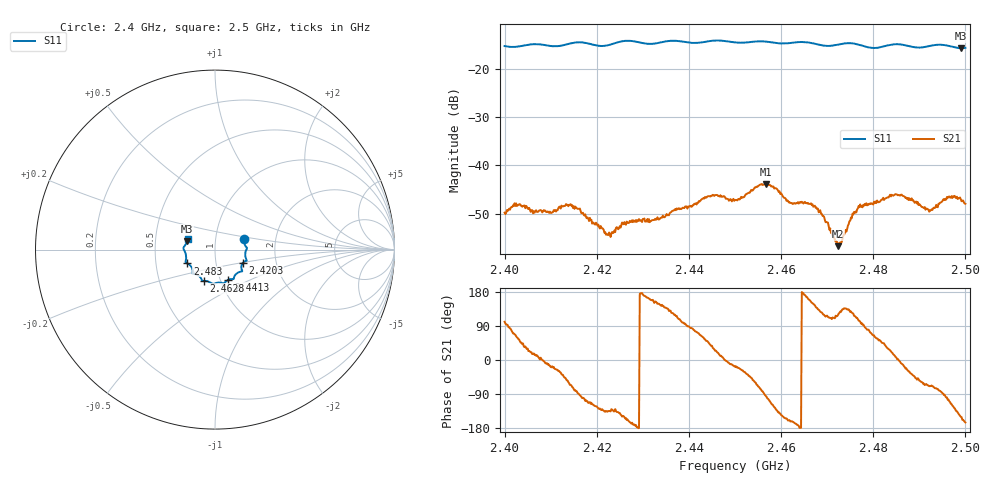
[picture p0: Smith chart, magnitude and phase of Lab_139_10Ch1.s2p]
# Hz S RI R 50
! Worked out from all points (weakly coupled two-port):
!   601 points, 2.4 GHz to 2.5 GHz, reference 50 ohm
!   highest |S21| = -43.83 dB at 2.4567 GHz (marker M1); lowest = -56.7 dB at 2.4723 GHz (marker M2)
!   lowest |S11| = -15.8 dB at 2.499 GHz (marker M3), VSWR 1.39, Z = 36.4 + j3.39 ohm
!   |S11| at or under -10 dB: start of sweep to end of sweep
!   S12 and S22 are empty: the file has one direction only
!   S11 on the Smith chart (normalised r, x): 2.4 GHz: 1.37, +0.16; 2.4203 GHz: 1.35, -0.21; 2.4413 GHz: 1.09, -0.38; 2.4628 GHz: 0.83, -0.30; 2.483 GHz: 0.72, -0.11; 2.5 GHz: 0.73, +0.09
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2.4e9  0.1609 0.0565  -0.000616 0.00318  0 0  0 0
2.402667e9  0.1655 0.0285  0.00192 0.00328  0 0  0 0
2.416667e9  0.1759 -0.0617  -0.000401 -0.00318  0 0  0 0
2.420333e9  0.1551 -0.0742  -0.00148 -0.00193  0 0  0 0
2.4225e9  0.1469 -0.094  -0.00133 -0.00135  0 0  0 0
2.426e9  0.1516 -0.119  -0.00226 -0.00126  0 0  0 0
2.433333e9  0.1081 -0.1485  -0.00237 0.00144  0 0  0 0
2.441333e9  0.0742 -0.168  0.000978 0.00388  0 0  0 0
2.445667e9  0.0506 -0.1878  0.00446 0.00206  0 0  0 0
2.45e9  0.0292 -0.184  0.00417 -0.00134  0 0  0 0
2.456667e9  -0.0155 -0.1894  -0.000524 -0.00641  0 0  0 0
2.462833e9  -0.0629 -0.1746  -0.00395 -0.00102  0 0  0 0
2.466667e9  -0.0743 -0.1675  -0.00339 0.00188  0 0  0 0
2.472333e9  -0.1138 -0.1351  -0.000694 0.00129  0 0  0 0
2.477e9  -0.1245 -0.1242  -0.00085 0.00359  0 0  0 0
2.483e9  -0.1548 -0.0769  0.00393 0.00247  0 0  0 0
2.483333e9  -0.157 -0.0755  0.0041 0.00222  0 0  0 0
2.486333e9  -0.1635 -0.0656  0.00476 -0.000951  0 0  0 0
2.492333e9  -0.1715 -0.00428  0.00127 -0.00318  0 0  0 0
2.4965e9  -0.1696 0.0197  -0.00155 -0.0045  0 0  0 0
2.499e9  -0.1557 0.0453  -0.00386 -0.00225  0 0  0 0
2.5e9  -0.1528 0.0585  -0.00387 -0.00105  0 0  0 0
